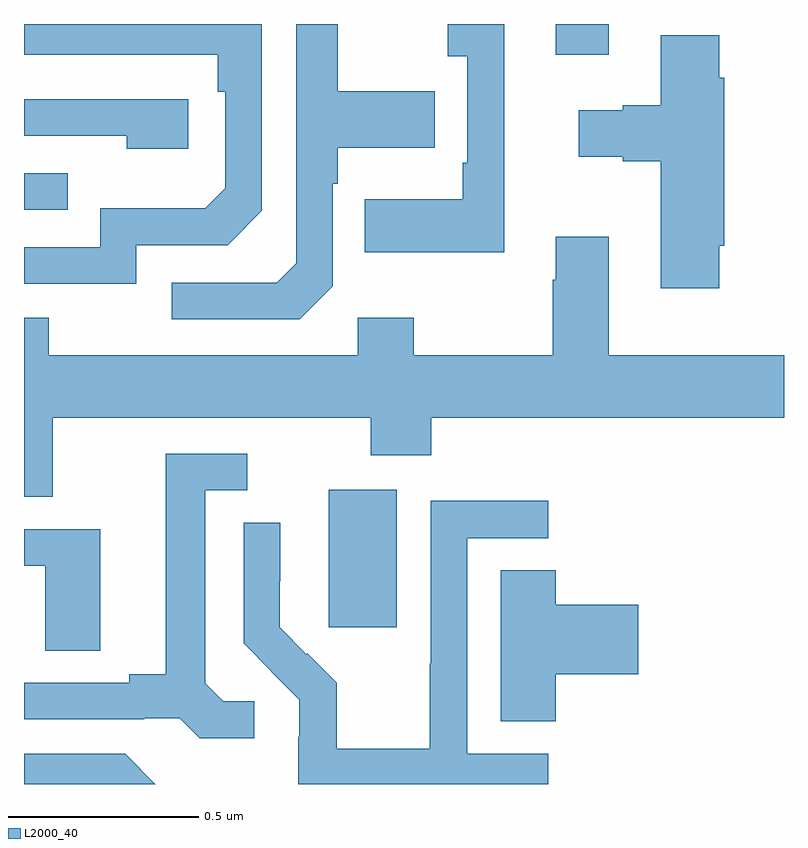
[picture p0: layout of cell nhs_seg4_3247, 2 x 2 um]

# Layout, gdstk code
import gdstk
lib = gdstk.Library(unit=1e-6, precision=1e-09)
def R(c, l, rs):  # rectangles x0, y0, x1, y1
    for r in rs: c.add(gdstk.rectangle(r[:2], r[2:], *l))
def P(c, l, *ps):  # polygons
    for p in ps: c.add(gdstk.Polygon(p, *l))
L2000_40 = (2000, 40)

nhs_seg4_3247 = lib.new_cell('nhs_seg4_3247')
R(nhs_seg4_3247, L2000_40, [(151.802,752.313,151.981,752.674), (151,753.411,151.115,753.507), (152.399,753.819,152.539,753.9)])
P(nhs_seg4_3247, L2000_40, [(151.812,753.21),(151.812,753.479),(151.825,753.479),(151.825,753.575),(152.081,753.575),(152.081,753.723),(151.825,753.723),(151.825,753.9),(151.716,753.9),(151.716,753.27),(151.665,753.219),(151.389,753.219),(151.389,753.123),(151.725,753.123)],
  [(151.296,753.318),(151.536,753.318),(151.626,753.408),(151.626,753.9),(151,753.9),(151,753.819),(151.51,753.819),(151.51,753.722),(151.53,753.722),(151.53,753.468),(151.477,753.415),(151.2,753.415),(151.2,753.312),(151,753.312),(151,753.216),(151.296,753.216)],
  [(152.264,753.9),(152.115,753.9),(152.115,753.815),(152.166,753.815),(152.166,753.535),(152.154,753.535),(152.154,753.439),(151.897,753.439),(151.897,753.299),(152.264,753.299)],
  [(152.83,753.316),(152.843,753.316),(152.843,753.758),(152.83,753.758),(152.83,753.871),(152.675,753.871),(152.675,753.686),(152.576,753.686),(152.576,753.673),(152.46,753.673),(152.46,753.551),(152.576,753.551),(152.576,753.539),(152.675,753.539),(152.675,753.204),(152.83,753.204)],
  [(151.432,753.702),(151,753.702),(151,753.606),(151.271,753.606),(151.271,753.572),(151.432,753.572)],
  [(151.075,752.864),(151.912,752.864),(151.912,752.765),(152.072,752.765),(152.072,752.864),(153,752.864),(153,753.028),(152.539,753.028),(152.539,753.34),(152.399,753.34),(152.399,753.227),(152.392,753.227),(152.392,753.028),(152.025,753.028),(152.025,753.127),(151.878,753.127),(151.878,753.028),(151.065,753.028),(151.065,753.127),(151,753.127),(151,752.656),(151.075,752.656)],
  [(151.606,752.118),(151.524,752.118),(151.477,752.165),(151.477,752.673),(151.588,752.673),(151.588,752.769),(151.373,752.769),(151.373,752.189),(151.277,752.189),(151.277,752.166),(151,752.166),(151,752.07),(151.316,752.07),(151.316,752.073),(151.41,752.073),(151.462,752.021),(151.606,752.021)],
  [(152.38,751.98),(152.166,751.98),(152.166,752.547),(152.38,752.547),(152.38,752.646),(152.07,752.646),(152.07,752.216),(152.068,752.216),(152.068,751.993),(151.823,751.993),(151.823,752.167),(151.746,752.244),(151.743,752.241),(151.673,752.312),(151.673,752.434),(151.674,752.434),(151.674,752.588),(151.578,752.588),(151.578,752.27),(151.651,752.197),(151.65,752.196),(151.724,752.122),(151.724,752.025),(151.722,752.025),(151.722,751.9),(152.38,751.9)],
  [(151.201,752.571),(151,752.571),(151,752.475),(151.056,752.475),(151.056,752.251),(151.201,752.251)],
  [(152.399,752.189),(152.617,752.189),(152.617,752.372),(152.399,752.372),(152.399,752.462),(152.255,752.462),(152.255,752.065),(152.399,752.065)],
  [(151.266,751.98),(151,751.98),(151,751.9),(151.346,751.9)])

lib.write_gds('nhs_seg4_3247.gds')
